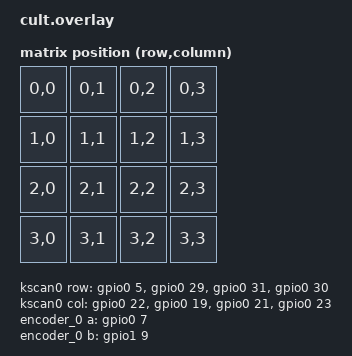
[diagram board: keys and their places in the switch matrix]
/*
 * cult.overlay — ZMK shield overlay for cult keyboard
 * 4x4 matrix | 15 switches + 1 encoder push-switch at R0C0
 * Per-key RGB: 16x SK6812/WS2812 on P1.04
 * Underglow:    9x SK6812/WS2812 on P1.06
 * Encoder: A=P0.07  B=P1.09
 */

#include <dt-bindings/zmk/matrix_transform.h>

/ {
    chosen {
        zmk,kscan = &kscan0;
        zmk,matrix_transform = &default_transform;
    };

    default_transform: keymap_transform_0 {
        compatible = "zmk,matrix-transform";
        columns = <4>;
        rows = <4>;
        /*
         * R0C0 = encoder push-switch (top-left)
         * Layout (row, col):
         * ENC  K01  K02  K03
         * K10  K11  K12  K13
         * K20  K21  K22  K23
         * K30  K31  K32  K33
         */
        map = <
            RC(0,0) RC(0,1) RC(0,2) RC(0,3)
            RC(1,0) RC(1,1) RC(1,2) RC(1,3)
            RC(2,0) RC(2,1) RC(2,2) RC(2,3)
            RC(3,0) RC(3,1) RC(3,2) RC(3,3)
        >;
    };

    kscan0: kscan {
        compatible = "zmk,kscan-gpio-matrix";
        label = "KSCAN";
        diode-direction = "col2row";

        row-gpios
            = <&gpio0  5 (GPIO_ACTIVE_HIGH | GPIO_PULL_DOWN)>   /* row1 P0.05 */
            , <&gpio0 29 (GPIO_ACTIVE_HIGH | GPIO_PULL_DOWN)>   /* row2 P0.29 */
            , <&gpio0 31 (GPIO_ACTIVE_HIGH | GPIO_PULL_DOWN)>   /* row3 P0.31 */
            , <&gpio0 30 (GPIO_ACTIVE_HIGH | GPIO_PULL_DOWN)>   /* row4 P0.30 */
            ;

        col-gpios
            = <&gpio0 22 GPIO_ACTIVE_HIGH>   /* col1 P0.22 */
            , <&gpio0 19 GPIO_ACTIVE_HIGH>   /* col2 P0.19 */
            , <&gpio0 21 GPIO_ACTIVE_HIGH>   /* col3 P0.21 */
            , <&gpio0 23 GPIO_ACTIVE_HIGH>   /* col4 P0.23 */
            ;
    };

    /* Rotary encoder */
    encoder_0: encoder_0 {
        compatible = "alps,ec11";
        label = "ENCODER_0";
        a-gpios = <&gpio0 7 (GPIO_ACTIVE_HIGH | GPIO_PULL_UP)>;
        b-gpios = <&gpio1 9 (GPIO_ACTIVE_HIGH | GPIO_PULL_UP)>;
        steps = <80>;
        status = "okay";
    };

    sensors {
        compatible = "zmk,keymap-sensors";
        sensors = <&encoder_0>;
        triggers-per-rotation = <20>;
    };
};

/* Per-key RGB — 16 LEDs on P1.04 */
&spi1 {
    compatible = "nordic,nrf-spim";
    status = "okay";
    mosi-pin = <4>;   /* P1.04 = pin 4 on gpio1 */
    sck-pin  = <3>;   /* unused but required by driver — tie to GND on PCB */
    cs-gpios = <>;

    led_strip_perkey: ws2812@0 {
        compatible = "worldsemi,ws2812-spi";
        label = "PER_KEY_RGB";
        reg = <0>;
        spi-max-frequency = <4000000>;
        chain-length = <16>;
        spi-one-frame  = <0x70>;
        spi-zero-frame = <0x40>;
        color-mapping  = <LED_COLOR_ID_GREEN
                          LED_COLOR_ID_RED
                          LED_COLOR_ID_BLUE>;
    };
};

/* Underglow — 9 LEDs on P1.06 */
&spi3 {
    compatible = "nordic,nrf-spim";
    status = "okay";
    mosi-pin = <6>;   /* P1.06 = pin 6 on gpio1 */
    sck-pin  = <5>;   /* unused — tie to GND on PCB */
    cs-gpios = <>;

    led_strip_underglow: ws2812@0 {
        compatible = "worldsemi,ws2812-spi";
        label = "UNDERGLOW_RGB";
        reg = <0>;
        spi-max-frequency = <4000000>;
        chain-length = <9>;
        spi-one-frame  = <0x70>;
        spi-zero-frame = <0x40>;
        color-mapping  = <LED_COLOR_ID_GREEN
                          LED_COLOR_ID_RED
                          LED_COLOR_ID_BLUE>;
    };
};

/ {
    chosen {
        zmk,underglow = &led_strip_perkey;
    };
};
